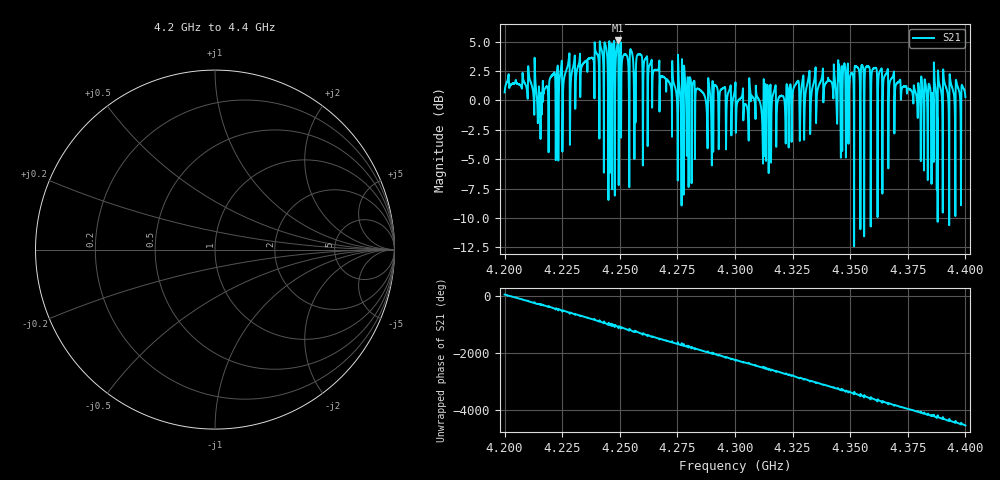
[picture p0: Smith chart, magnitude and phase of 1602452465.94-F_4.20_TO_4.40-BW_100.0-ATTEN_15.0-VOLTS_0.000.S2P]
!Keysight Technologies,E5063A,MY54502693,A.05.04
!Date: Mon Oct 12 06:42:43 2020
!Data & Calibration Information:
!Freq	S11:NONE(--)	S21:NONE(--)	S12:NONE(--)	S22:NONE(--)
# Hz S RI R 50
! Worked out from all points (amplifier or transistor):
!   10000 points, 4.2 GHz to 4.4 GHz, reference 50 ohm
!   highest |S21| = 5.1 dB at 4.2492 GHz (marker M1)
!   |S21| within 3 dB of that: 4.232978 GHz to 4.238929 GHz (5.95 MHz wide, 0.14 % of centre) (the widest 1 of 53)
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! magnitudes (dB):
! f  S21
! 4.2 GHz  0.7
! 4.2111 GHz  1.7
! 4.2152 GHz  0.2
! 4.2208 GHz  2.2
! 4.223 GHz  2.9
! 4.2333 GHz  2.8
! 4.2436 GHz  4.9
! 4.2458 GHz  0.9
! 4.2492 GHz  5.1
! 4.2667 GHz  2.6
! 4.2768 GHz  -7.3
! 4.3 GHz  1.0
! 4.3125 GHz  1.7
! 4.3267 GHz  1.5
! 4.3334 GHz  0.8
! 4.3489 GHz  3.1
! 4.3529 GHz  2.9
! 4.3552 GHz  3.0
! 4.3575 GHz  2.9
! 4.3667 GHz  -0.7
! 4.3844 GHz  1.3
! 4.4 GHz  0.3
